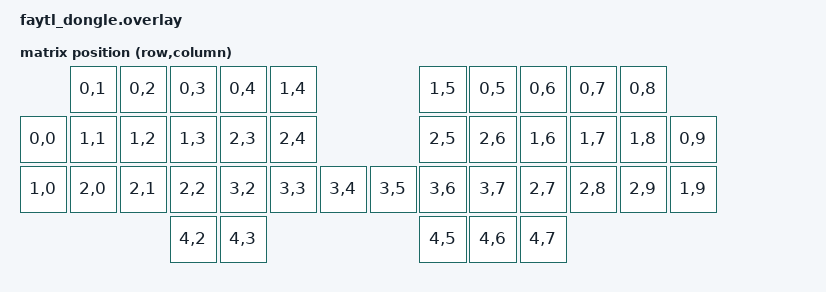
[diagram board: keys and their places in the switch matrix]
#include <dt-bindings/zmk/matrix_transform.h>
#import "faytl-layouts.dtsi"

&default_layout {
  transform = <&default_transform>;
};

/ {
    chosen {
        zmk,kscan = &kscan;
        zmk,physical-layout = &default_layout;
    };

    mock_kscan: kscan {
        compatible = "zmk,kscan-mock";
        columns = <0>;
        rows = <0>;
        events = <0>;
    };

    default_transform: default_transform {
        compatible = "zmk,matrix-transform";
        columns = <10>;
        rows = <5>;

        map = <
        // LEFT SIDE                                                     ENCODERS          RIGHT SIDE
        // outer  | pinky  |  ring  | middle | index  | inner  | |                     | |  inner |  index | middle |  ring  |  pinky |  outer
                    RC(0,1)  RC(0,2)  RC(0,3)  RC(0,4)  RC(1,4)                            RC(1,5)  RC(0,5)  RC(0,6)  RC(0,7)  RC(0,8)
           RC(0,0)  RC(1,1)  RC(1,2)  RC(1,3)  RC(2,3)  RC(2,4)                            RC(2,5)  RC(2,6)  RC(1,6)  RC(1,7)  RC(1,8)  RC(0,9)
           RC(1,0)  RC(2,0)  RC(2,1)  RC(2,2)  RC(3,2)  RC(3,3)     RC(3,4)   RC(3,5)      RC(3,6)  RC(3,7)  RC(2,7)  RC(2,8)  RC(2,9)  RC(1,9)
        //                                            THUMBS LEFT                      THUMBS RIGHT
        //                           | inner  | middle | outer  | |                    | |  outer | middle |  inner |
                                       RC(4,2)  RC(4,3)  RC (4,4)                         RC(4,5)  RC(4,6)  RC(4,7)
        >;
    };
};
